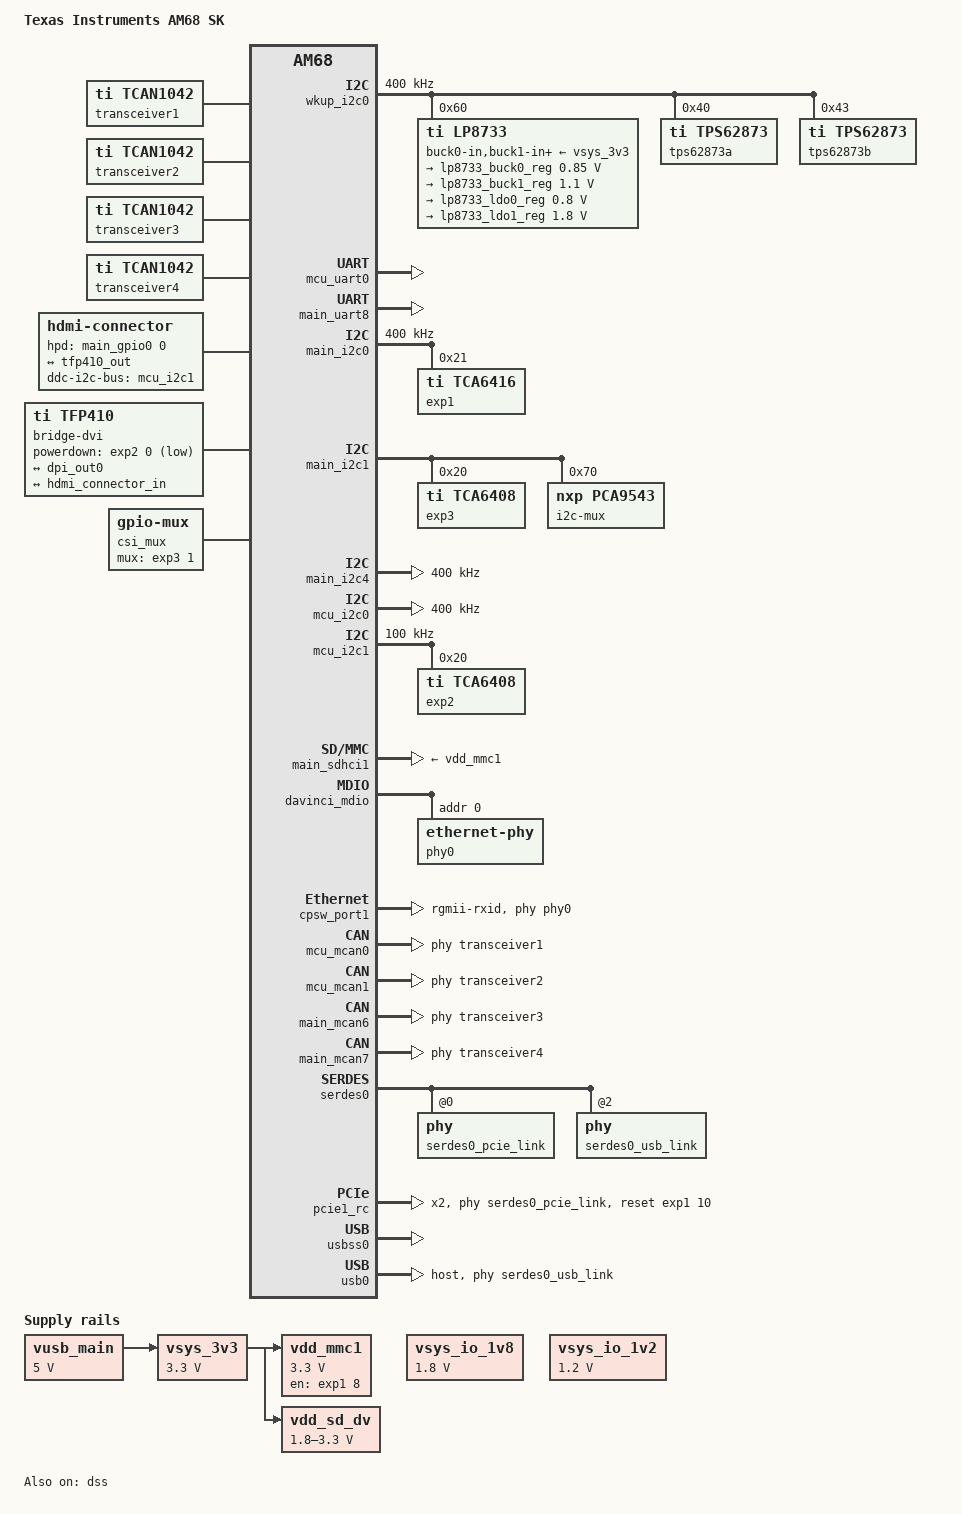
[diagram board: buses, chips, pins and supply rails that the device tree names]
// SPDX-License-Identifier: GPL-2.0-only OR MIT
/*
 * Copyright (C) 2023-2024 Texas Instruments Incorporated - https://www.ti.com/
 *
 * Base Board: https://www.ti.com/lit/zip/SPRR463
 */

/dts-v1/;

#include "k3-am68-sk-som.dtsi"
#include <dt-bindings/net/ti-dp83867.h>
#include <dt-bindings/phy/phy-cadence.h>
#include <dt-bindings/phy/phy.h>

#include "k3-serdes.h"

/ {
	compatible = "ti,am68-sk", "ti,j721s2";
	model = "Texas Instruments AM68 SK";

	chosen {
		stdout-path = "serial2:115200n8";
	};

	aliases {
		serial0 = &wkup_uart0;
		serial1 = &mcu_uart0;
		serial2 = &main_uart8;
		mmc1 = &main_sdhci1;
		can0 = &mcu_mcan0;
		can1 = &mcu_mcan1;
		can2 = &main_mcan6;
		can3 = &main_mcan7;
		ethernet0 = &cpsw_port1;
	};

	vusb_main: regulator-vusb-main5v0 {
		/* USB MAIN INPUT 5V DC */
		compatible = "regulator-fixed";
		regulator-name = "vusb-main5v0";
		regulator-min-microvolt = <5000000>;
		regulator-max-microvolt = <5000000>;
		regulator-always-on;
		regulator-boot-on;
	};

	vsys_3v3: regulator-vsys3v3 {
		/* Output of LM5141 */
		compatible = "regulator-fixed";
		regulator-name = "vsys_3v3";
		regulator-min-microvolt = <3300000>;
		regulator-max-microvolt = <3300000>;
		vin-supply = <&vusb_main>;
		regulator-always-on;
		regulator-boot-on;
	};

	vdd_mmc1: regulator-sd {
		/* Output of TPS22918 */
		compatible = "regulator-fixed";
		regulator-name = "vdd_mmc1";
		regulator-min-microvolt = <3300000>;
		regulator-max-microvolt = <3300000>;
		regulator-boot-on;
		enable-active-high;
		vin-supply = <&vsys_3v3>;
		gpio = <&exp1 8 GPIO_ACTIVE_HIGH>;
	};

	vdd_sd_dv: regulator-tlv71033 {
		/* Output of TLV71033 */
		compatible = "regulator-gpio";
		regulator-name = "tlv71033";
		pinctrl-names = "default";
		pinctrl-0 = <&vdd_sd_dv_pins_default>;
		regulator-min-microvolt = <1800000>;
		regulator-max-microvolt = <3300000>;
		regulator-boot-on;
		vin-supply = <&vsys_3v3>;
		gpios = <&main_gpio0 49 GPIO_ACTIVE_HIGH>;
		states = <1800000 0x0>,
			 <3300000 0x1>;
	};

	vsys_io_1v8: regulator-vsys-io-1v8 {
		compatible = "regulator-fixed";
		regulator-name = "vsys_io_1v8";
		regulator-min-microvolt = <1800000>;
		regulator-max-microvolt = <1800000>;
		regulator-always-on;
		regulator-boot-on;
	};

	vsys_io_1v2: regulator-vsys-io-1v2 {
		compatible = "regulator-fixed";
		regulator-name = "vsys_io_1v2";
		regulator-min-microvolt = <1200000>;
		regulator-max-microvolt = <1200000>;
		regulator-always-on;
		regulator-boot-on;
	};

	transceiver1: can-phy0 {
		compatible = "ti,tcan1042";
		#phy-cells = <0>;
		max-bitrate = <5000000>;
	};

	transceiver2: can-phy1 {
		compatible = "ti,tcan1042";
		#phy-cells = <0>;
		max-bitrate = <5000000>;
	};

	transceiver3: can-phy2 {
		compatible = "ti,tcan1042";
		#phy-cells = <0>;
		max-bitrate = <5000000>;
	};

	transceiver4: can-phy3 {
		compatible = "ti,tcan1042";
		#phy-cells = <0>;
		max-bitrate = <5000000>;
	};

	connector-hdmi {
		compatible = "hdmi-connector";
		label = "hdmi";
		type = "a";
		pinctrl-names = "default";
		pinctrl-0 = <&hdmi_hpd_pins_default>;
		ddc-i2c-bus = <&mcu_i2c1>;
		/* HDMI_HPD */
		hpd-gpios = <&main_gpio0 0 GPIO_ACTIVE_HIGH>;

		port {
			hdmi_connector_in: endpoint {
				remote-endpoint = <&tfp410_out>;
			};
		};
	};

	bridge-dvi {
		compatible = "ti,tfp410";
		/* HDMI_PDn */
		powerdown-gpios = <&exp2 0 GPIO_ACTIVE_LOW>;
		ti,deskew = <0>;

		ports {
			#address-cells = <1>;
			#size-cells = <0>;

			port@0 {
				reg = <0>;

				tfp410_in: endpoint {
					remote-endpoint = <&dpi_out0>;
					pclk-sample = <1>;
				};
			};

			port@1 {
				reg = <1>;

				tfp410_out: endpoint {
					remote-endpoint = <&hdmi_connector_in>;
				};
			};
		};
	};

	csi_mux: mux-controller {
		compatible = "gpio-mux";
		#mux-state-cells = <1>;
		mux-gpios = <&exp3 1 GPIO_ACTIVE_HIGH>;
		idle-state = <0>;
	};
};

&main_pmx0 {
	main_uart8_pins_default: main-uart8-default-pins {
		pinctrl-single,pins = <
			J721S2_IOPAD(0x0d0, PIN_INPUT, 11) /* (AF26) SPI0_CS1.UART8_RXD */
			J721S2_IOPAD(0x0d4, PIN_OUTPUT, 11) /* (AH27) SPI0_CLK.UART8_TXD */
		>;
	};

	main_i2c0_pins_default: main-i2c0-default-pins {
		pinctrl-single,pins = <
			J721S2_IOPAD(0x0e0, PIN_INPUT, 0) /* (AH25) I2C0_SCL */
			J721S2_IOPAD(0x0e4, PIN_INPUT, 0) /* (AE24) I2C0_SDA */
		>;
	};

	main_i2c1_pins_default: main-i2c1-default-pins {
		pinctrl-single,pins = <
			J721S2_IOPAD(0x0ac, PIN_INPUT, 13) /* (AC25) MCASP0_AXR15.I2C1_SCL */
			J721S2_IOPAD(0x0b0, PIN_INPUT, 13) /* (AD26) MCASP1_AXR3.I2C1_SDA */
		>;
	};

	main_mmc1_pins_default: main-mmc1-default-pins {
		pinctrl-single,pins = <
			J721S2_IOPAD(0x104, PIN_INPUT, 0) /* (P23) MMC1_CLK */
			J721S2_IOPAD(0x108, PIN_INPUT, 0) /* (N24) MMC1_CMD */
			J721S2_IOPAD(0x0fc, PIN_INPUT, 0) /* (M23) MMC1_DAT0 */
			J721S2_IOPAD(0x0f8, PIN_INPUT, 0) /* (P24) MMC1_DAT1 */
			J721S2_IOPAD(0x0f4, PIN_INPUT, 0) /* (R24) MMC1_DAT2 */
			J721S2_IOPAD(0x0f0, PIN_INPUT, 0) /* (R22) MMC1_DAT3 */
			J721S2_IOPAD(0x0e8, PIN_INPUT, 8) /* (AE25) TIMER_IO0.MMC1_SDCD */
		>;
	};

	vdd_sd_dv_pins_default: vdd-sd-dv-default-pins {
		pinctrl-single,pins = <
			J721S2_IOPAD(0x0c4, PIN_INPUT, 7) /* (AB26) ECAP0_IN_APWM_OUT.GPIO0_49 */
		>;
	};

	main_usbss0_pins_default: main-usbss0-default-pins {
		pinctrl-single,pins = <
			J721S2_IOPAD(0x0ec, PIN_OUTPUT, 6) /* (AG25) TIMER_IO1.USB0_DRVVBUS */
		>;
	};

	main_mcan6_pins_default: main-mcan6-default-pins {
		pinctrl-single,pins = <
			J721S2_IOPAD(0x098, PIN_INPUT, 0) /* (V25) MCASP0_AXR10.MCAN6_RX */
			J721S2_IOPAD(0x094, PIN_INPUT, 0) /* (AA25) MCASP0_AXR9.MCAN6_TX */
		>;
	};

	main_mcan7_pins_default: main-mcan7-default-pins {
		pinctrl-single,pins = <
			J721S2_IOPAD(0x0a0, PIN_INPUT, 0) /* (AB25) MCASP0_AXR12.MCAN7_RX */
			J721S2_IOPAD(0x09c, PIN_INPUT, 0) /* (T24) MCASP0_AXR11.MCAN7_TX */
		>;
	};

	main_i2c4_pins_default: main-i2c4-default-pins {
		pinctrl-single,pins = <
			J721S2_IOPAD(0x010, PIN_INPUT_PULLUP, 8) /* (AF28) MCAN13_RX.I2C4_SDA */
			J721S2_IOPAD(0x014, PIN_INPUT_PULLUP, 8) /* (AD25) MCAN14_TX.I2C4_SCL */
		>;
	};

	rpi_header_gpio0_pins_default: rpi-header-gpio0-default-pins {
		pinctrl-single,pins = <
			J721S2_IOPAD(0x0a8, PIN_INPUT, 7) /* (U24)  MCASP0_AXR14.GPIO0_42 */
			J721S2_IOPAD(0x090, PIN_INPUT, 7) /* (W24) MCASP0_AXR8.GPIO0_36 */
			J721S2_IOPAD(0x0bc, PIN_INPUT, 7) /* (V28) MCASP1_AFSX.GPIO0_47 */
			J721S2_IOPAD(0x06c, PIN_INPUT, 7) /* (V26) MCAN1_TX.GPIO0_27 */
			J721S2_IOPAD(0x004, PIN_INPUT, 7) /* (W25) MCAN12_TX.GPIO0_1 */
			J721S2_IOPAD(0x008, PIN_INPUT, 7) /* (AC24) MCAN12_RX.GPIO0_2 */
			J721S2_IOPAD(0x0b8, PIN_INPUT, 7) /* (AA24) MCASP1_ACLKX.GPIO0_46 */
			J721S2_IOPAD(0x00c, PIN_INPUT, 7) /* (AE28) MCAN13_TX.GPIO0_3 */
			J721S2_IOPAD(0x034, PIN_INPUT, 7) /* (AD24) PMIC_WAKE0.GPIO0_13 */
			J721S2_IOPAD(0x0a4, PIN_INPUT, 7) /* (T23) MCASP0_AXR13.GPIO0_41 */
			J721S2_IOPAD(0x0c0, PIN_INPUT, 7) /* (T28) MCASP1_AXR0.GPIO0_48 */
			J721S2_IOPAD(0x0b4, PIN_INPUT, 7) /* (U25) MCASP1_AXR4.GPIO0_45 */
			J721S2_IOPAD(0x0cc, PIN_INPUT, 7) /* (AE27) SPI0_CS0.GPIO0_51 */
			J721S2_IOPAD(0x08c, PIN_INPUT, 7) /* (T25) MCASP0_AXR7.GPIO0_35 */
		>;
	};

	dss_vout0_pins_default: dss-vout0-default-pins {
		pinctrl-single,pins = <
			J721S2_IOPAD(0x074, PIN_OUTPUT, 2) /* (R28) MCAN2_TX.VOUT0_DATA0 */
			J721S2_IOPAD(0x070, PIN_OUTPUT, 2) /* (R27) MCAN1_RX.VOUT0_DATA1 */
			J721S2_IOPAD(0x04c, PIN_OUTPUT, 2) /* (V27) MCASP1_AXR1.VOUT0_DATA10 */
			J721S2_IOPAD(0x048, PIN_OUTPUT, 2) /* (AB27) MCASP0_AXR2.VOUT0_DATA11 */
			J721S2_IOPAD(0x044, PIN_OUTPUT, 2) /* (Y26) MCASP0_AXR1.VOUT0_DATA12 */
			J721S2_IOPAD(0x040, PIN_OUTPUT, 2) /* (AC28) MCASP0_AXR0.VOUT0_DATA13 */
			J721S2_IOPAD(0x03c, PIN_OUTPUT, 2) /* (U27) MCASP0_AFSX.VOUT0_DATA14 */
			J721S2_IOPAD(0x038, PIN_OUTPUT, 2) /* (AB28) MCASP0_ACLKX.VOUT0_DATA15 */
			J721S2_IOPAD(0x0c8, PIN_OUTPUT, 2) /* (AD28) EXT_REFCLK1.VOUT0_DATA16 */
			J721S2_IOPAD(0x030, PIN_OUTPUT, 2) /* (T26) GPIO0_12.VOUT0_DATA17 */
			J721S2_IOPAD(0x02c, PIN_OUTPUT, 2) /* (V23) GPIO0_11.VOUT0_DATA18 */
			J721S2_IOPAD(0x028, PIN_OUTPUT, 2) /* (AB24) MCAN16_RX.VOUT0_DATA19 */
			J721S2_IOPAD(0x07c, PIN_OUTPUT, 2) /* (T27) MCASP0_AXR3.VOUT0_DATA2 */
			J721S2_IOPAD(0x024, PIN_OUTPUT, 2) /* (Y28) MCAN16_TX.VOUT0_DATA20 */
			J721S2_IOPAD(0x020, PIN_OUTPUT, 2) /* (AA23) MCAN15_RX.VOUT0_DATA21 */
			J721S2_IOPAD(0x01c, PIN_OUTPUT, 2) /* (Y24) MCAN15_TX.VOUT0_DATA22 */
			J721S2_IOPAD(0x018, PIN_OUTPUT, 2) /* (W23) MCAN14_RX.VOUT0_DATA23 */
			J721S2_IOPAD(0x068, PIN_OUTPUT, 2) /* (U28) MCAN0_RX.VOUT0_DATA3 */
			J721S2_IOPAD(0x064, PIN_OUTPUT, 2) /* (W28) MCAN0_TX.VOUT0_DATA4 */
			J721S2_IOPAD(0x060, PIN_OUTPUT, 2) /* (AC27) MCASP2_AXR1.VOUT0_DATA5 */
			J721S2_IOPAD(0x05c, PIN_OUTPUT, 2) /* (AA26) MCASP2_AXR0.VOUT0_DATA6 */
			J721S2_IOPAD(0x058, PIN_OUTPUT, 2) /* (AA27) MCASP2_AFSX.VOUT0_DATA7 */
			J721S2_IOPAD(0x054, PIN_OUTPUT, 2) /* (Y27) MCASP2_ACLKX.VOUT0_DATA8 */
			J721S2_IOPAD(0x050, PIN_OUTPUT, 2) /* (W27) MCASP1_AXR2.VOUT0_DATA9 */
			J721S2_IOPAD(0x084, PIN_OUTPUT, 2) /* (AA28) MCASP0_AXR5.VOUT0_DE */
			J721S2_IOPAD(0x080, PIN_OUTPUT, 2) /* (U26) MCASP0_AXR4.VOUT0_HSYNC */
			J721S2_IOPAD(0x078, PIN_OUTPUT, 2) /* (Y25) MCAN2_RX.VOUT0_PCLK */
			J721S2_IOPAD(0x088, PIN_OUTPUT, 2) /* (AD27) MCASP0_AXR6.VOUT0_VP0_VSYNC */
		>;
	};

	hdmi_hpd_pins_default: hdmi-hpd-default-pins {
		pinctrl-single,pins = <
			J721S2_IOPAD(0x000, PIN_INPUT, 7) /* (AG24) EXTINTN.GPIO0_0  */
		>;
	};
};

&wkup_pmx2 {
	wkup_uart0_pins_default: wkup-uart0-default-pins {
		pinctrl-single,pins = <
			J721S2_WKUP_IOPAD(0x070, PIN_INPUT, 0) /* (E25) WKUP_GPIO0_6.WKUP_UART0_CTSn */
			J721S2_WKUP_IOPAD(0x074, PIN_OUTPUT, 0) /* (F28) WKUP_GPIO0_7.WKUP_UART0_RTSn */
			J721S2_WKUP_IOPAD(0x048, PIN_INPUT, 0) /* (D28) WKUP_UART0_RXD */
			J721S2_WKUP_IOPAD(0x04c, PIN_OUTPUT, 0) /* (D27) WKUP_UART0_TXD */
		>;
	};

	mcu_cpsw_pins_default: mcu-cpsw-default-pins {
		pinctrl-single,pins = <
			J721S2_WKUP_IOPAD(0x02C, PIN_INPUT, 0) /* (B22) MCU_RGMII1_RD0 */
			J721S2_WKUP_IOPAD(0x028, PIN_INPUT, 0) /* (B21) MCU_RGMII1_RD1 */
			J721S2_WKUP_IOPAD(0x024, PIN_INPUT, 0) /* (C22) MCU_RGMII1_RD2 */
			J721S2_WKUP_IOPAD(0x020, PIN_INPUT, 0) /* (D23) MCU_RGMII1_RD3 */
			J721S2_WKUP_IOPAD(0x01C, PIN_INPUT, 0) /* (D22) MCU_RGMII1_RXC */
			J721S2_WKUP_IOPAD(0x004, PIN_INPUT, 0) /* (E23) MCU_RGMII1_RX_CTL */
			J721S2_WKUP_IOPAD(0x014, PIN_OUTPUT, 0) /* (F23) MCU_RGMII1_TD0 */
			J721S2_WKUP_IOPAD(0x010, PIN_OUTPUT, 0) /* (G22) MCU_RGMII1_TD1 */
			J721S2_WKUP_IOPAD(0x00C, PIN_OUTPUT, 0) /* (E21) MCU_RGMII1_TD2 */
			J721S2_WKUP_IOPAD(0x008, PIN_OUTPUT, 0) /* (E22) MCU_RGMII1_TD3 */
			J721S2_WKUP_IOPAD(0x018, PIN_OUTPUT, 0) /* (F21) MCU_RGMII1_TXC */
			J721S2_WKUP_IOPAD(0x000, PIN_OUTPUT, 0) /* (F22) MCU_RGMII1_TX_CTL */
		>;
	};

	mcu_mdio_pins_default: mcu-mdio-default-pins {
		pinctrl-single,pins = <
			J721S2_WKUP_IOPAD(0x034, PIN_OUTPUT, 0) /* (A21) MCU_MDIO0_MDC */
			J721S2_WKUP_IOPAD(0x030, PIN_INPUT, 0) /* (A22) MCU_MDIO0_MDIO */
		>;
	};

	mcu_mcan0_pins_default: mcu-mcan0-default-pins {
		pinctrl-single,pins = <
			J721S2_WKUP_IOPAD(0x054, PIN_INPUT, 0) /* (E28) MCU_MCAN0_RX */
			J721S2_WKUP_IOPAD(0x050, PIN_OUTPUT, 0) /* (E27) MCU_MCAN0_TX */
		>;
	};

	mcu_mcan1_pins_default: mcu-mcan1-default-pins {
		pinctrl-single,pins = <
			J721S2_WKUP_IOPAD(0x06C, PIN_INPUT, 0) /* (F26) WKUP_GPIO0_5.MCU_MCAN1_RX */
			J721S2_WKUP_IOPAD(0x068, PIN_OUTPUT, 0) /* (C23) WKUP_GPIO0_4.MCU_MCAN1_TX*/
		>;
	};

	mcu_i2c0_pins_default: mcu-i2c0-default-pins {
		pinctrl-single,pins = <
			J721S2_WKUP_IOPAD(0x0a0, PIN_INPUT, 0) /* (G24) MCU_I2C0_SCL */
			J721S2_WKUP_IOPAD(0x0a4, PIN_INPUT, 0) /* (J25) MCU_I2C0_SDA */
		>;
	};

	mcu_i2c1_pins_default: mcu-i2c1-default-pins {
		pinctrl-single,pins = <
			J721S2_WKUP_IOPAD(0x078, PIN_INPUT, 0) /* (F24) WKUP_GPIO0_8.MCU_I2C1_SCL */
			J721S2_WKUP_IOPAD(0x07c, PIN_INPUT, 0) /* (H26) WKUP_GPIO0_9.MCU_I2C1_SDA */
		>;
	};

	mcu_uart0_pins_default: mcu-uart0-default-pins {
		pinctrl-single,pins = <
			J721S2_WKUP_IOPAD(0x08c, PIN_INPUT, 0) /* (C24) WKUP_GPIO0_13.MCU_UART0_RXD */
			J721S2_WKUP_IOPAD(0x088, PIN_OUTPUT, 0) /* (C25) WKUP_GPIO0_12.MCU_UART0_TXD */
		>;
	};

	mcu_rpi_header_gpio0_pins0_default: mcu-rpi-header-gpio0-default-pins-0 {
		pinctrl-single,pins = <
			J721S2_WKUP_IOPAD(0x118, PIN_INPUT, 7) /* (G25) WKUP_GPIO0_66 */
			J721S2_WKUP_IOPAD(0x05C, PIN_INPUT, 7) /* (E24) MCU_SPI1_D0.WKUP_GPIO0_1 */
			J721S2_WKUP_IOPAD(0x060, PIN_INPUT, 7) /* (C28) MCU_SPI1_D1.WKUP_GPIO0_2 */
			J721S2_WKUP_IOPAD(0x058, PIN_INPUT, 7) /* (D26) MCU_SPI1_CLK.WKUP_GPIO0_0 */
			J721S2_WKUP_IOPAD(0x094, PIN_INPUT, 7) /* (D25) MCU_SPI1_CS2.WKUP_GPIO0_15*/
			J721S2_WKUP_IOPAD(0x0B8, PIN_INPUT, 7) /* (G27) WKUP_GPIO0_56 */
			J721S2_WKUP_IOPAD(0x114, PIN_INPUT, 7) /* (J26) WKUP_GPIO0_57 */
			J721S2_WKUP_IOPAD(0x11C, PIN_INPUT, 7) /* (J27) WKUP_GPIO0_67 */
			J721S2_WKUP_IOPAD(0x064, PIN_INPUT, 7) /* (C27) MCU_SPI1_CS0.WKUP_GPIO0_3 */
		>;
	};
};

&wkup_pmx3 {
	mcu_rpi_header_gpio0_pins1_default: mcu-rpi-header-gpio0-default-pins-1 {
		pinctrl-single,pins = <
			J721S2_WKUP_IOPAD(0x000, PIN_INPUT, 7) /* (K26) WKUP_GPIO0_49 */
		>;
	};
};

&main_gpio0 {
	status = "okay";
	pinctrl-names = "default";
	pinctrl-0 = <&rpi_header_gpio0_pins_default>;
};

&wkup_gpio0 {
	status = "okay";
	pinctrl-names = "default";
	pinctrl-0 = <&mcu_rpi_header_gpio0_pins0_default>, <&mcu_rpi_header_gpio0_pins1_default>;
};

&wkup_uart0 {
	status = "reserved";
	pinctrl-names = "default";
	pinctrl-0 = <&wkup_uart0_pins_default>;
};

&wkup_i2c0 {
	bootph-all;
	clock-frequency = <400000>;
	pinctrl-names = "default";
	pinctrl-0 = <&wkup_i2c0_pins_default>;
	status = "okay";

	lp8733: pmic@60 {
		compatible = "ti,lp8733";
		reg = <0x60>;
		buck0-in-supply = <&vsys_3v3>;
		buck1-in-supply = <&vsys_3v3>;
		ldo0-in-supply = <&vsys_3v3>;
		ldo1-in-supply = <&vsys_3v3>;

		lp8733_regulators: regulators {
			lp8733_buck0_reg: buck0 {
				/* FB_B0 -> LP8733-BUCK1 - VDD_MCU_0V85 */
				regulator-name = "lp8733-buck0";
				regulator-min-microvolt = <850000>;
				regulator-max-microvolt = <850000>;
				regulator-always-on;
				regulator-boot-on;
			};

			lp8733_buck1_reg: buck1 {
				/* FB_B1 -> LP8733-BUCK2 - VDD_DDR_1V1 */
				regulator-name = "lp8733-buck1";
				regulator-min-microvolt = <1100000>;
				regulator-max-microvolt = <1100000>;
				regulator-always-on;
				regulator-boot-on;
			};

			lp8733_ldo0_reg: ldo0 {
				/* LDO0 -> LP8733-LDO1 - VDA_DLL_0V8 */
				regulator-name = "lp8733-ldo0";
				regulator-min-microvolt = <800000>;
				regulator-max-microvolt = <800000>;
				regulator-boot-on;
				regulator-always-on;
			};

			lp8733_ldo1_reg: ldo1 {
				/* LDO1 -> LP8733-LDO2 - VDA_LN_1V8 */
				regulator-name = "lp8733-ldo1";
				regulator-min-microvolt = <1800000>;
				regulator-max-microvolt = <1800000>;
				regulator-always-on;
				regulator-boot-on;
			};
		};
	};

	tps62873a: regulator@40 {
		compatible = "ti,tps62873";
		reg = <0x40>;
		bootph-pre-ram;
		regulator-name = "VDD_CPU_AVS";
		regulator-min-microvolt = <600000>;
		regulator-max-microvolt = <900000>;
		regulator-boot-on;
		regulator-always-on;
	};

	tps62873b: regulator@43 {
		compatible = "ti,tps62873";
		reg = <0x43>;
		regulator-name = "VDD_CORE_0V8";
		regulator-min-microvolt = <800000>;
		regulator-max-microvolt = <800000>;
		regulator-boot-on;
		regulator-always-on;
	};
};

&mcu_uart0 {
	status = "okay";
	pinctrl-names = "default";
	pinctrl-0 = <&mcu_uart0_pins_default>;
};

&main_uart8 {
	status = "okay";
	pinctrl-names = "default";
	pinctrl-0 = <&main_uart8_pins_default>;
	/* Shared with TFA on this platform */
	power-domains = <&k3_pds 357 TI_SCI_PD_SHARED>;
};

&main_i2c0 {
	pinctrl-names = "default";
	pinctrl-0 = <&main_i2c0_pins_default>;
	clock-frequency = <400000>;

	exp1: gpio@21 {
		compatible = "ti,tca6416";
		reg = <0x21>;
		gpio-controller;
		#gpio-cells = <2>;
		gpio-line-names = " ", " ", " ", " ", " ",
				  "BOARDID_EEPROM_WP", "CAN_STB", " ",
				  "GPIO_uSD_PWR_EN", " ", "IO_EXP_PCIe1_M.2_RTSz",
				  "IO_EXP_MCU_RGMII_RST#", " ", " ", " ", " ";
	};
};

&main_i2c1 {
	pinctrl-names = "default";
	pinctrl-0 = <&main_i2c1_pins_default>;
	status = "okay";

	exp3: gpio@20 {
		compatible = "ti,tca6408";
		reg = <0x20>;
		gpio-controller;
		#gpio-cells = <2>;
		gpio-line-names = "CSI_VIO_SEL", "CSI_SEL_FPC_EXPn",
				  "IO_EXP_CSI2_EXP_RSTz","CSI0_B_GPIO1",
				  "CSI1_B_GPIO1";
	};

	i2c-mux@70 {
		compatible = "nxp,pca9543";
		#address-cells = <1>;
		#size-cells = <0>;
		reg = <0x70>;

		cam0_i2c: i2c@0 {
			#address-cells = <1>;
			#size-cells = <0>;
			reg = <0>;
		};

		cam1_i2c: i2c@1 {
			#address-cells = <1>;
			#size-cells = <0>;
			reg = <1>;
		};

	};
};

&main_i2c4 {
	status = "okay";
	pinctrl-names = "default";
	pinctrl-0 = <&main_i2c4_pins_default>;
	clock-frequency = <400000>;
};

&mcu_i2c0 {
	status = "okay";
	pinctrl-names = "default";
	pinctrl-0 = <&mcu_i2c0_pins_default>;
	clock-frequency = <400000>;
};

&mcu_i2c1 {
	status = "okay";
	pinctrl-names = "default";
	pinctrl-0 = <&mcu_i2c1_pins_default>;
	/* i2c1 is used for DVI DDC, so we need to use 100kHz */
	clock-frequency = <100000>;

	exp2: gpio@20 {
		compatible = "ti,tca6408";
		reg = <0x20>;
		gpio-controller;
		#gpio-cells = <2>;
		gpio-line-names = "HDMI_PDn","HDMI_LS_OE",
				  "DP0_3V3_EN","eDP_ENABLE";
	};
};

&main_sdhci1 {
	/* SD card */
	status = "okay";
	pinctrl-0 = <&main_mmc1_pins_default>;
	pinctrl-names = "default";
	disable-wp;
	vmmc-supply = <&vdd_mmc1>;
	vqmmc-supply = <&vdd_sd_dv>;
};

&mcu_cpsw {
	pinctrl-names = "default";
	pinctrl-0 = <&mcu_cpsw_pins_default>, <&mcu_mdio_pins_default>;
};

&davinci_mdio {
	phy0: ethernet-phy@0 {
		reg = <0>;
		ti,rx-internal-delay = <DP83867_RGMIIDCTL_2_00_NS>;
		ti,fifo-depth = <DP83867_PHYCR_FIFO_DEPTH_4_B_NIB>;
		ti,min-output-impedance;
	};
};

&cpsw_port1 {
	phy-mode = "rgmii-rxid";
	phy-handle = <&phy0>;
};

&mcu_mcan0 {
	status = "okay";
	pinctrl-names = "default";
	pinctrl-0 = <&mcu_mcan0_pins_default>;
	phys = <&transceiver1>;
};

&mcu_mcan1 {
	status = "okay";
	pinctrl-names = "default";
	pinctrl-0 = <&mcu_mcan1_pins_default>;
	phys = <&transceiver2>;
};

&main_mcan6 {
	status = "okay";
	pinctrl-names = "default";
	pinctrl-0 = <&main_mcan6_pins_default>;
	phys = <&transceiver3>;
};

&main_mcan7 {
	status = "okay";
	pinctrl-names = "default";
	pinctrl-0 = <&main_mcan7_pins_default>;
	phys = <&transceiver4>;
};

&dss {
	status = "okay";
	pinctrl-names = "default";
	pinctrl-0 = <&dss_vout0_pins_default>;
	/*
	 * These clock assignments are chosen to enable the following outputs:
	 *
	 * VP0 - DisplayPort SST
	 * VP1 - DPI0
	 * VP2 - DSI
	 * VP3 - DPI1
	 */
	assigned-clocks = <&k3_clks 158 2>,
			  <&k3_clks 158 5>,
			  <&k3_clks 158 14>,
			  <&k3_clks 158 18>;
	assigned-clock-parents = <&k3_clks 158 3>,
				 <&k3_clks 158 7>,
				 <&k3_clks 158 16>,
				 <&k3_clks 158 22>;
};

&dss_ports {
	#address-cells = <1>;
	#size-cells = <0>;

	/* HDMI */
	port@1 {
		reg = <1>;

		dpi_out0: endpoint {
			remote-endpoint = <&tfp410_in>;
		};
	};
};

&serdes_ln_ctrl {
	idle-states = <J721S2_SERDES0_LANE0_PCIE1_LANE0>, <J721S2_SERDES0_LANE1_PCIE1_LANE1>,
		      <J721S2_SERDES0_LANE2_USB_SWAP>, <J721S2_SERDES0_LANE3_USB>;
};

&serdes_refclk {
	clock-frequency = <100000000>;
};

&serdes0 {
	status = "okay";

	serdes0_pcie_link: phy@0 {
		reg = <0>;
		cdns,num-lanes = <2>;
		#phy-cells = <0>;
		cdns,phy-type = <PHY_TYPE_PCIE>;
		resets = <&serdes_wiz0 1>, <&serdes_wiz0 2>;
	};

	serdes0_usb_link: phy@2 {
		status = "okay";
		reg = <2>;
		cdns,num-lanes = <1>;
		#phy-cells = <0>;
		cdns,phy-type = <PHY_TYPE_USB3>;
		resets = <&serdes_wiz0 3>;
	};
};

&pcie1_rc {
	status = "okay";
	reset-gpios = <&exp1 10 GPIO_ACTIVE_HIGH>;
	phys = <&serdes0_pcie_link>;
	phy-names = "pcie-phy";
	num-lanes = <2>;
};

&usb_serdes_mux {
	idle-states = <0>; /* USB0 to SERDES lane 2 */
};

&usbss0 {
	status = "okay";
	pinctrl-0 = <&main_usbss0_pins_default>;
	pinctrl-names = "default";
	ti,vbus-divider;
};

&usb0 {
	dr_mode = "host";
	maximum-speed = "super-speed";
	phys = <&serdes0_usb_link>;
	phy-names = "cdns3,usb3-phy";
};
